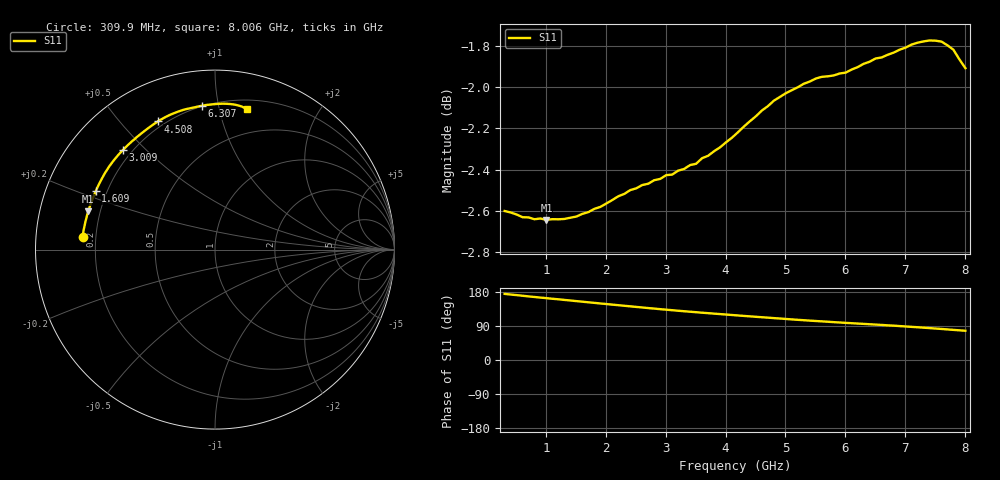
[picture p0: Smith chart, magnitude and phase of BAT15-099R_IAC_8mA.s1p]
! Infineon Technologies  Discrete & RF Semiconductors
! BAT15-099R
! IAC = 8 mA
! One-Port S-Parameters
# Hz  S  MA  R  50
!f  S11
!Hz  Mag  Ang
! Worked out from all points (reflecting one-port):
!   78 points, 309.9 MHz to 8.006 GHz, reference 50 ohm
!   lowest |S11| = -2.6 dB at 1.01 GHz (marker M1), VSWR 6.62, Z = 7.71 + j7.2 ohm
!   phase of S11 starts at 175 deg and turns -97 deg over the sweep
!   S11 on the Smith chart (normalised r, x): 309.9 MHz: 0.15, +0.05; 1.609 GHz: 0.16, +0.23; 3.009 GHz: 0.16, +0.43; 4.508 GHz: 0.17, +0.64; 6.307 GHz: 0.20, +0.89; 8.006 GHz: 0.28, +1.22
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3.0985e8  0.7412 174.5
4.098e8  0.7406 172.7
5.0975e8  0.7398 171.2
6.097e8  0.7386 169.5
1.0095e9  0.7375 163.2
1.30935e9  0.7379 158.5
1.6092e9  0.74 153.9
2.009e9  0.7443 147.7
2.30885e9  0.7483 143.1
2.4088e9  0.7499 141.6
2.70865e9  0.7526 137.1
3.0085e9  0.7562 132.8
3.2084e9  0.7581 130.0
3.6082e9  0.7634 124.8
4.2079e9  0.7746 117.5
4.50775e9  0.7816 114.0
4.8076e9  0.7884 110.6
5.2074e9  0.7944 106.0
5.50725e9  0.7982 102.9
6.007e9  0.8009 98.0
6.10695e9  0.8023 97.1
6.30685e9  0.8048 95.3
6.8066e9  0.8099 90.6
7.10645e9  0.8135 87.4
7.4063e9  0.8154 84.3
7.6062e9  0.8149 81.9
7.8061e9  0.8112 79.5
8.006e9  0.8029 77.1
